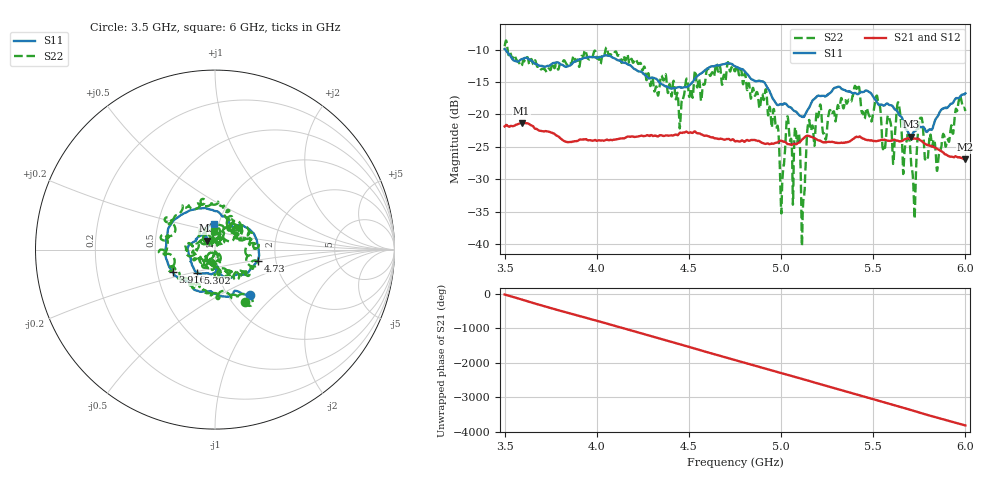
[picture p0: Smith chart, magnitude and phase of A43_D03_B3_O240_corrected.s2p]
! Created with skrf 1.9.0 (http://scikit-rf.org).
# Hz S RI R 50.0
!freq ReS11 ImS11 ReS21 ImS21 ReS12 ImS12 ReS22 ImS22
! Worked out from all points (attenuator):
!   1601 points, 3.5 GHz to 6 GHz, reference 50 ohm
!   highest |S21| = -21.31 dB at 3.592 GHz (marker M1); lowest = -26.9 dB at 5.998 GHz (marker M2)
!   lowest |S11| = -23.4 dB at 5.703 GHz (marker M3), VSWR 1.14, Z = 45.4 + j4.55 ohm
!   |S11| at or under -10 dB: 3.503 GHz to end of sweep
!   |S22| runs from -40.3 to -8.6 dB; largest |S21 - S12| = 0.00098
!   S11 on the Smith chart (normalised r, x): 3.5 GHz: 1.26, -0.71; 3.916 GHz: 0.60, -0.16; 4.73 GHz: 1.61, -0.21; 5.302 GHz: 0.80, -0.21; 6 GHz: 0.95, +0.28
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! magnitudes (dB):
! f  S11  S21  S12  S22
! 3.5 GHz  -9.9  -21.9  -21.8  -9.5
! 3.592 GHz  -11.5  -21.3  -21.3  -12.5
! 3.916 GHz  -11.5  -23.9  -23.9  -11.1
! 3.917 GHz  -11.5  -23.9  -23.9  -11.0
! 4.334 GHz  -14.9  -23.4  -23.3  -17.0
! 4.73 GHz  -12.2  -24.0  -23.9  -12.8
! 4.75 GHz  -12.6  -24.1  -24.1  -13.4
! 4.969 GHz  -18.1  -24.4  -24.4  -21.4
! 5.005 GHz  -18.4  -24.1  -24.1  -31.8
! 5.033 GHz  -18.5  -24.5  -24.4  -20.4
! 5.088 GHz  -19.7  -24.5  -24.5  -24.4
! 5.119 GHz  -20.4  -23.8  -23.7  -34.1
! 5.145 GHz  -19.3  -23.3  -23.2  -21.7
! 5.167 GHz  -18.0  -23.5  -23.4  -21.8
! 5.302 GHz  -15.8  -24.4  -24.3  -19.8
! 5.584 GHz  -18.5  -24.0  -24.0  -20.2
! 5.703 GHz  -23.4  -23.8  -23.7  -26.4
! 5.72 GHz  -22.7  -23.7  -23.7  -32.7
! 5.756 GHz  -21.9  -24.0  -23.9  -20.6
! 5.852 GHz  -20.2  -25.4  -25.3  -27.5
! 5.998 GHz  -16.8  -26.9  -26.8  -19.3
! 6 GHz  -16.8  -26.9  -26.8  -19.5
